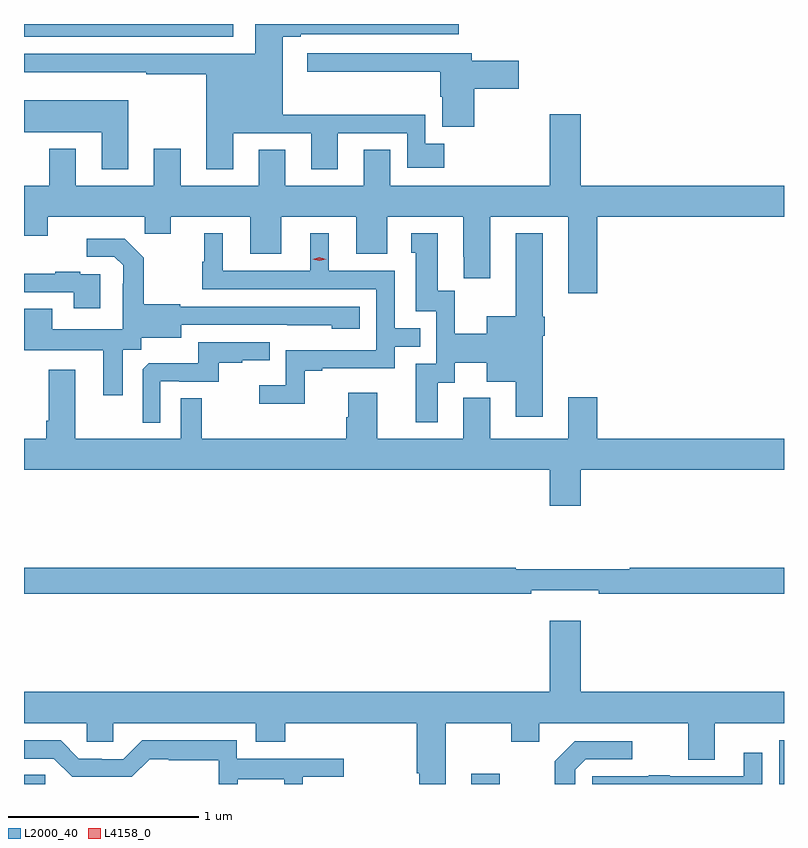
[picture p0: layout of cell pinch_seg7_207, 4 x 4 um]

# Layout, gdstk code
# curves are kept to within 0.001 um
import gdstk
lib = gdstk.Library(unit=1e-6, precision=1e-09)
def R(c, l, rs):  # rectangles x0, y0, x1, y1
    for r in rs: c.add(gdstk.rectangle(r[:2], r[2:], *l))
def P(c, l, *ps):  # polygons
    for p in ps: c.add(gdstk.Polygon(p, *l))
L2000_40 = (2000, 40)
L4158_0 = (4158, 0)

pinch_seg7_207 = lib.new_cell('pinch_seg7_207')
R(pinch_seg7_207, L2000_40, [(641.762,1033.595,641.875,1033.643), (644.117,1033.595,644.266,1033.648), (645.738,1033.595,645.762,1033.824), (641.762,1037.528,642.862,1037.595)])
P(pinch_seg7_207, L2000_40, [(642.862,1037.019),(643.274,1037.019),(643.274,1036.83),(643.414,1036.83),(643.414,1037.019),(643.779,1037.019),(643.779,1036.838),(643.975,1036.838),(643.975,1036.966),(643.875,1036.966),(643.875,1037.118),(643.123,1037.118),(643.123,1037.529),(643.219,1037.529),(643.219,1037.541),(644.051,1037.541),(644.051,1037.595),(642.98,1037.595),(642.98,1037.439),(641.762,1037.439),(641.762,1037.342),(642.406,1037.342),(642.406,1037.331),(642.722,1037.331),(642.722,1036.83),(642.862,1036.83)],
  [(644.132,1037.255),(644.365,1037.255),(644.365,1037.402),(644.119,1037.402),(644.119,1037.442),(643.254,1037.442),(643.254,1037.344),(643.952,1037.344),(643.952,1037.212),(643.964,1037.212),(643.964,1037.055),(644.132,1037.055)],
  [(642.31,1037.194),(641.762,1037.194),(641.762,1037.024),(642.17,1037.024),(642.17,1036.83),(642.31,1036.83)],
  [(644.78,1036.58),(645.762,1036.58),(645.762,1036.744),(644.692,1036.744),(644.692,1037.119),(644.528,1037.119),(644.528,1036.744),(643.69,1036.744),(643.69,1036.934),(643.55,1036.934),(643.55,1036.744),(643.138,1036.744),(643.138,1036.934),(642.998,1036.934),(642.998,1036.744),(642.586,1036.744),(642.586,1036.939),(642.446,1036.939),(642.446,1036.744),(642.034,1036.744),(642.034,1036.939),(641.894,1036.939),(641.894,1036.744),(641.762,1036.744),(641.762,1036.481),(641.887,1036.481),(641.887,1036.58),(642.397,1036.58),(642.397,1036.49),(642.535,1036.49),(642.535,1036.58),(642.953,1036.58),(642.953,1036.386),(643.117,1036.386),(643.117,1036.58),(643.511,1036.58),(643.511,1036.386),(643.675,1036.386),(643.675,1036.58),(644.075,1036.58),(644.075,1036.369),(644.076,1036.369),(644.076,1036.257),(644.215,1036.257),(644.215,1036.58),(644.627,1036.58),(644.627,1036.179),(644.78,1036.179)],
  [(643.939,1035.706),(644.029,1035.706),(644.029,1035.812),(644.198,1035.812),(644.198,1035.713),(644.351,1035.713),(644.351,1035.528),(644.491,1035.528),(644.491,1035.953),(644.504,1035.953),(644.504,1036.053),(644.491,1036.053),(644.491,1036.495),(644.351,1036.495),(644.351,1036.057),(644.198,1036.057),(644.198,1035.964),(644.028,1035.964),(644.028,1036.191),(643.939,1036.191),(643.939,1036.495),(643.799,1036.495),(643.799,1036.392),(643.823,1036.392),(643.823,1036.083),(643.932,1036.083),(643.932,1035.807),(643.823,1035.807),(643.823,1035.498),(643.939,1035.498)],
  [(643.239,1035.771),(643.333,1035.771),(643.333,1035.783),(643.713,1035.783),(643.713,1035.897),(643.847,1035.897),(643.847,1035.993),(643.713,1035.993),(643.713,1036.296),(643.366,1036.296),(643.366,1036.495),(643.268,1036.495),(643.268,1036.296),(642.808,1036.296),(642.808,1036.495),(642.71,1036.495),(642.71,1036.344),(642.699,1036.344),(642.699,1036.2),(643.617,1036.2),(643.617,1035.879),(643.14,1035.879),(643.14,1035.694),(642.999,1035.694),(642.999,1035.596),(643.239,1035.596)],
  [(642.283,1035.88),(642.378,1035.88),(642.378,1035.944),(642.589,1035.944),(642.589,1036.011),(643.383,1036.01),(643.383,1035.992),(643.528,1035.992),(643.528,1036.107),(642.585,1036.107),(642.585,1036.12),(642.393,1036.12),(642.393,1036.365),(642.293,1036.465),(642.093,1036.465),(642.093,1036.371),(642.237,1036.371),(642.284,1036.324),(642.284,1036.229),(642.282,1036.229),(642.282,1035.988),(641.911,1035.988),(641.911,1036.097),(641.762,1036.097),(641.762,1035.878),(642.179,1035.878),(642.179,1035.642),(642.283,1035.642)],
  [(642.163,1036.278),(642.059,1036.278),(642.059,1036.291),(641.927,1036.291),(641.927,1036.28),(641.762,1036.28),(641.762,1036.182),(642.023,1036.182),(642.023,1036.098),(642.163,1036.098)],
  [(642.48,1035.714),(642.58,1035.714),(642.58,1035.711),(642.788,1035.711),(642.788,1035.813),(642.911,1035.813),(642.911,1035.824),(643.055,1035.824),(643.055,1035.921),(642.678,1035.921),(642.678,1035.809),(642.419,1035.809),(642.387,1035.777),(642.387,1035.497),(642.48,1035.497)],
  [(644.692,1035.248),(645.762,1035.248),(645.762,1035.412),(644.78,1035.412),(644.78,1035.631),(644.627,1035.631),(644.627,1035.412),(644.215,1035.412),(644.215,1035.628),(644.075,1035.628),(644.075,1035.412),(643.621,1035.412),(643.621,1035.655),(643.469,1035.655),(643.469,1035.525),(643.457,1035.525),(643.457,1035.412),(642.697,1035.412),(642.697,1035.626),(642.588,1035.626),(642.588,1035.412),(642.031,1035.412),(642.031,1035.775),(641.891,1035.775),(641.891,1035.508),(641.879,1035.508),(641.879,1035.412),(641.762,1035.412),(641.762,1035.248),(644.528,1035.248),(644.528,1035.06),(644.692,1035.06)],
  [(644.432,1034.615),(644.788,1034.615),(644.788,1034.596),(645.762,1034.596),(645.762,1034.732),(644.95,1034.732),(644.95,1034.725),(644.35,1034.725),(644.35,1034.732),(641.762,1034.732),(641.762,1034.596),(644.432,1034.596)],
  [(643.981,1033.916),(644.326,1033.916),(644.326,1033.817),(644.473,1033.817),(644.473,1033.916),(645.257,1033.916),(645.257,1033.722),(645.397,1033.722),(645.397,1033.916),(645.762,1033.916),(645.762,1034.08),(644.692,1034.08),(644.692,1034.455),(644.528,1034.455),(644.528,1034.08),(641.762,1034.08),(641.762,1033.916),(642.093,1033.916),(642.093,1033.818),(642.231,1033.818),(642.231,1033.916),(642.983,1033.916),(642.983,1033.817),(643.136,1033.817),(643.136,1033.916),(643.829,1033.916),(643.829,1033.651),(643.841,1033.651),(643.841,1033.595),(643.981,1033.595)],
  [(642.887,1033.62),(643.132,1033.62),(643.132,1033.595),(643.23,1033.595),(643.23,1033.632),(643.444,1033.632),(643.444,1033.728),(642.882,1033.728),(642.882,1033.825),(642.385,1033.825),(642.285,1033.725),(642.17,1033.725),(642.17,1033.728),(642.051,1033.728),(641.955,1033.824),(641.762,1033.824),(641.762,1033.728),(641.919,1033.728),(642.015,1033.632),(642.33,1033.632),(642.423,1033.725),(642.523,1033.725),(642.523,1033.721),(642.786,1033.721),(642.786,1033.595),(642.887,1033.595)],
  [(644.664,1033.671),(644.718,1033.725),(644.962,1033.725),(644.962,1033.821),(644.661,1033.821),(644.556,1033.715),(644.556,1033.595),(644.664,1033.595)],
  [(645.647,1033.759),(645.551,1033.759),(645.551,1033.635),(645.161,1033.635),(645.161,1033.64),(645.049,1033.64),(645.049,1033.635),(644.754,1033.635),(644.754,1033.595),(645.647,1033.595)])
P(pinch_seg7_207, L4158_0, [(643.317,1036.348),(643.281,1036.358),(643.281,1036.358),(643.281,1036.358),(643.317,1036.368),(643.353,1036.358),(643.353,1036.358),(643.353,1036.358)])

lib.write_gds('pinch_seg7_207.gds')
